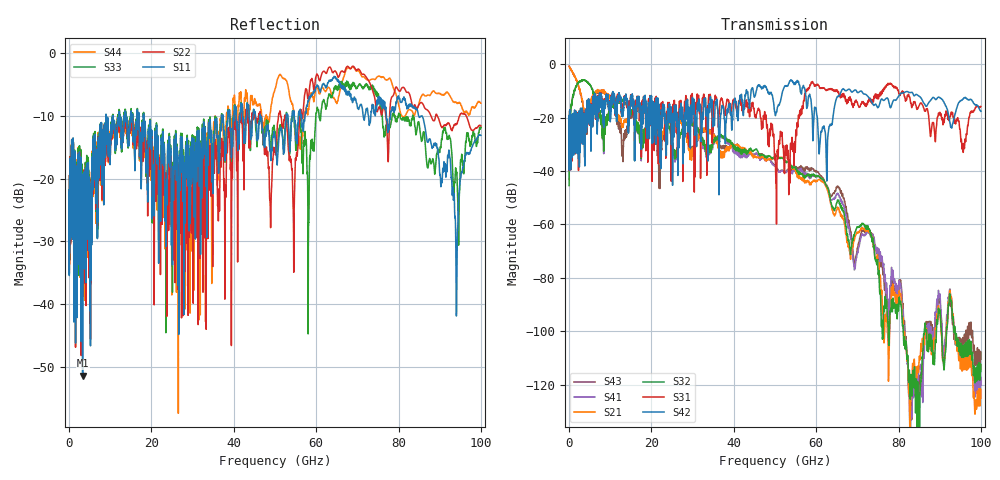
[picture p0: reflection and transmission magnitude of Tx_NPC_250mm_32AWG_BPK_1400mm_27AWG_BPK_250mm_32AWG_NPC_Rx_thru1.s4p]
! Info: Touchstone file created by Circ.  Input file=Tx_NPC_250mm_32AWG_BPK_1400mm_27AWG_BPK_250mm_32AWG_NPC_Rx.circ
# Hz S RI R 50
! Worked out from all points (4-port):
!   10000 points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, 10 MHz to 100 GHz, reference 50 ohm
!   strongest paths, dB at 10 MHz, 25.01 GHz, 50.01 GHz, 75.01 GHz, 100 GHz:
!     S42: -25.8, -19.4, -18.4, -16.3, -17.6
!     S31: -25.8, -23.0, -33.7, -11.9, -15.8
!     S32: -45.4, -29.0, -34.4, -77.1, -115.1
!     S21: -0.7, -19.1, -34.4, -75.1, -125.0
!     S41: -43.1, -29.3, -38.1, -71.3, -120.2
!     S43: -0.7, -19.1, -37.9, -72.2, -110.5
!   lowest |S11| = -51.5 dB at 3.29 GHz (marker M1), VSWR 1.01, Z = 49.7 + j0.021 ohm
!   |S11| at or under -10 dB: start of sweep to 8.966 GHz; 18.15 GHz to 37.03 GHz (18.88 GHz wide, 68.4 % of centre); 85.71 GHz to end of sweep (the widest 3 of 36)
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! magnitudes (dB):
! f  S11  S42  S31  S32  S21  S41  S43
! 10 MHz  -21.8  -25.8  -25.8  -45.4  -0.7  -43.1  -0.7
! 3.29 GHz  -51.5  -19.5  -19.7  -6.0  -14.2  -6.0  -14.4
! 42.94 GHz  -10.3  -10.9  -15.5  -32.3  -32.3  -33.8  -32.8
! 50.33 GHz  -16.2  -18.0  -47.9  -34.4  -34.2  -38.6  -38.4
! 58.96 GHz  -6.5  -17.5  -6.9  -41.3  -44.2  -41.6  -38.8
! 69.37 GHz  -7.2  -9.7  -14.0  -63.1  -64.9  -76.5  -74.8
! 100 GHz  -13.1  -17.6  -15.8  -115.1  -125.0  -120.2  -110.5
